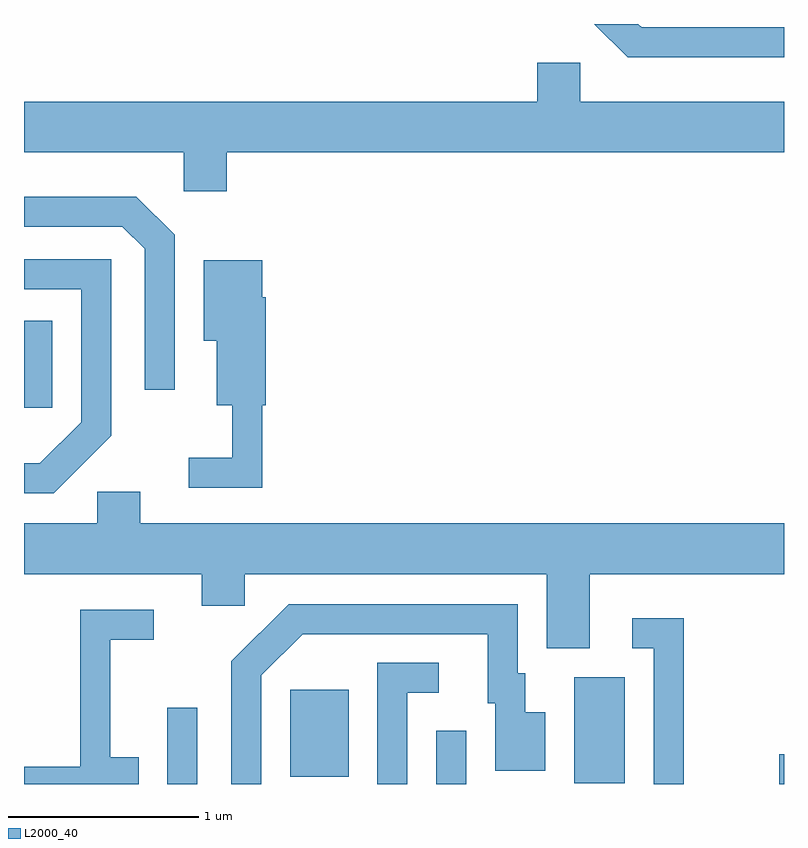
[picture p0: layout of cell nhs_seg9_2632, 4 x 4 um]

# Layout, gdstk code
import gdstk
lib = gdstk.Library(unit=1e-6, precision=1e-09)
def R(c, l, rs):  # rectangles x0, y0, x1, y1
    for r in rs: c.add(gdstk.rectangle(r[:2], r[2:], *l))
def P(c, l, *ps):  # polygons
    for p in ps: c.add(gdstk.Polygon(p, *l))
L2000_40 = (2000, 40)

nhs_seg9_2632 = lib.new_cell('nhs_seg9_2632')
R(nhs_seg9_2632, L2000_40, [(262.366,2048.432,262.524,2048.833), (263.781,2048.432,263.939,2048.713), (265.586,2048.432,265.611,2048.589), (264.506,2048.436,264.774,2048.994), (263.011,2048.471,263.319,2048.929), (261.611,2050.411,261.759,2050.869)])
P(nhs_seg9_2632, L2000_40, [(265.611,2052.414),(264.862,2052.414),(264.844,2052.432),(264.613,2052.432),(264.789,2052.256),(265.611,2052.256)],
  [(262.679,2051.756),(265.611,2051.756),(265.611,2052.024),(264.539,2052.024),(264.539,2052.229),(264.311,2052.229),(264.311,2052.024),(261.611,2052.024),(261.611,2051.756),(262.451,2051.756),(262.451,2051.551),(262.679,2051.551)],
  [(262.404,2051.322),(262.202,2051.524),(261.611,2051.524),(261.611,2051.366),(262.129,2051.366),(262.246,2051.249),(262.246,2050.508),(262.404,2050.508)],
  [(262.069,2050.264),(262.069,2051.194),(261.611,2051.194),(261.611,2051.036),(261.911,2051.036),(261.911,2050.337),(261.694,2050.119),(261.611,2050.119),(261.611,2049.961),(261.767,2049.961)],
  [(262.864,2050.426),(262.884,2050.426),(262.884,2050.994),(262.864,2050.994),(262.864,2051.189),(262.556,2051.189),(262.556,2050.766),(262.626,2050.766),(262.626,2050.426),(262.706,2050.426),(262.706,2050.149),(262.478,2050.149),(262.478,2049.991),(262.864,2049.991)],
  [(264.589,2049.536),(265.611,2049.536),(265.611,2049.804),(262.224,2049.804),(262.224,2049.969),(261.996,2049.969),(261.996,2049.804),(261.611,2049.804),(261.611,2049.536),(262.546,2049.536),(262.546,2049.371),(262.774,2049.371),(262.774,2049.536),(264.361,2049.536),(264.361,2049.146),(264.589,2049.146)],
  [(262.859,2049.004),(263.077,2049.221),(264.051,2049.221),(264.051,2048.856),(264.091,2048.856),(264.091,2048.501),(264.354,2048.501),(264.354,2048.809),(264.249,2048.809),(264.249,2049.014),(264.209,2049.014),(264.209,2049.379),(263.004,2049.379),(262.701,2049.077),(262.701,2048.432),(262.859,2048.432)],
  [(262.214,2048.574),(262.064,2048.574),(262.064,2049.191),(262.293,2049.191),(262.293,2049.349),(261.906,2049.349),(261.906,2048.524),(261.611,2048.524),(261.611,2048.432),(262.214,2048.432)],
  [(265.084,2049.304),(264.813,2049.304),(264.813,2049.146),(264.926,2049.146),(264.926,2048.432),(265.084,2048.432)],
  [(263.629,2048.911),(263.793,2048.911),(263.793,2049.069),(263.471,2049.069),(263.471,2048.432),(263.629,2048.432)])

lib.write_gds('nhs_seg9_2632.gds')
